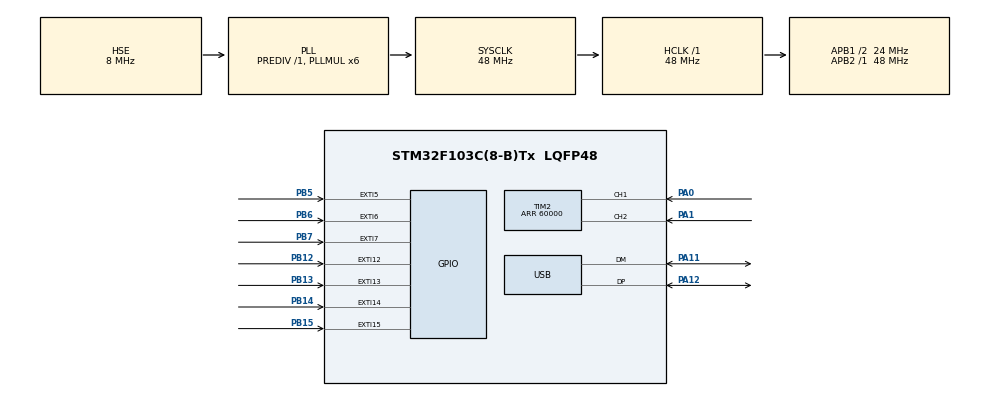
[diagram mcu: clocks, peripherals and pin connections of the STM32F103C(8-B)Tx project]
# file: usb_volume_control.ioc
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Mcu.Family=STM32F1
Mcu.Name=STM32F103C(8-B)Tx
Mcu.Package=LQFP48
NVIC.EXTI15_10_IRQn=true\:0\:0\:false\:false\:true\:true\:true\:true
NVIC.EXTI9_5_IRQn=true\:0\:0\:false\:false\:true\:true\:true\:true
NVIC.PriorityGroup=NVIC_PRIORITYGROUP_4
NVIC.TIM2_IRQn=true\:0\:0\:false\:false\:true\:true\:true\:true
NVIC.USB_LP_CAN1_RX0_IRQn=true\:0\:0\:false\:false\:true\:false\:true\:true
PA0-WKUP.GPIO_PuPd=GPIO_PULLDOWN
PA0-WKUP.Signal=S_TIM2_CH1_ETR
PA1.GPIO_PuPd=GPIO_PULLDOWN
PA1.Signal=S_TIM2_CH2
PA11.Mode=Device
PA11.Signal=USB_DM
PA12.Mode=Device
PA12.Signal=USB_DP
PA13.Mode=Serial_Wire
PA13.Signal=SYS_JTMS-SWDIO
PA14.Mode=Serial_Wire
PA14.Signal=SYS_JTCK-SWCLK
PB12.GPIO_ModeDefaultEXTI=GPIO_MODE_IT_FALLING
PB12.GPIO_PuPd=GPIO_PULLUP
PB12.Signal=GPXTI12
PB13.GPIO_ModeDefaultEXTI=GPIO_MODE_IT_FALLING
PB13.GPIO_PuPd=GPIO_PULLUP
PB13.Signal=GPXTI13
PB14.GPIO_ModeDefaultEXTI=GPIO_MODE_IT_FALLING
PB14.GPIO_PuPd=GPIO_PULLUP
PB14.Signal=GPXTI14
PB15.GPIO_ModeDefaultEXTI=GPIO_MODE_IT_FALLING
PB15.GPIO_PuPd=GPIO_PULLUP
PB15.Signal=GPXTI15
PB5.GPIO_ModeDefaultEXTI=GPIO_MODE_IT_FALLING
PB5.GPIO_PuPd=GPIO_PULLUP
PB5.Signal=GPXTI5
PB6.GPIO_ModeDefaultEXTI=GPIO_MODE_IT_FALLING
PB6.GPIO_PuPd=GPIO_PULLUP
PB6.Signal=GPXTI6
PB7.GPIO_ModeDefaultEXTI=GPIO_MODE_IT_FALLING
PB7.GPIO_PuPd=GPIO_PULLUP
PB7.Signal=GPXTI7
PD0-OSC_IN.Mode=HSE-External-Oscillator
PD0-OSC_IN.Signal=RCC_OSC_IN
PD1-OSC_OUT.Mode=HSE-External-Oscillator
PD1-OSC_OUT.Signal=RCC_OSC_OUT
ProjectManager.HeapSize=0x200
ProjectManager.StackSize=0x400
ProjectManager.TargetToolchain=STM32CubeIDE
RCC.AHBFreq_Value=48000000
RCC.APB1CLKDivider=RCC_HCLK_DIV2
RCC.APB1Freq_Value=24000000
RCC.APB1TimFreq_Value=48000000
RCC.APB2Freq_Value=48000000
RCC.APB2TimFreq_Value=48000000
RCC.HCLKFreq_Value=48000000
RCC.PLLMUL=RCC_PLL_MUL6
RCC.SYSCLKFreq_VALUE=48000000
RCC.SYSCLKSource=RCC_SYSCLKSOURCE_PLLCLK
RCC.USBFreq_Value=48000000
SH.S_TIM2_CH1_ETR.0=TIM2_CH1,Encoder_Interface
SH.S_TIM2_CH2.0=TIM2_CH2,Encoder_Interface
TIM2.CounterMode=TIM_COUNTERMODE_CENTERALIGNED1
TIM2.IC1Filter=15
TIM2.IC2Filter=15
TIM2.Period=60000
USB_DEVICE.CLASS_NAME_FS=CUSTOM_HID
USB_DEVICE.PRODUCT_STRING_CUSTOMHID_FS=stm32_media
USB_DEVICE.USBD_CUSTOM_HID_REPORT_DESC_SIZE=72
USB_DEVICE.VirtualMode=CustomHid
USB_DEVICE.VirtualModeFS=Custom_Hid_FS
VP_USB_DEVICE_VS_USB_DEVICE_CUSTOM_HID_FS.Mode=CUSTOM_HID_FS
board=custom

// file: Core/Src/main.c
/* USER CODE BEGIN Header */
/**
 ******************************************************************************
 * @file           : main.c
 * @brief          : Main program body
 ******************************************************************************
 * @attention
 *
 * Copyright (c) 2023 STMicroelectronics.
 * All rights reserved.
 *
 * This software is licensed under terms that can be found in the LICENSE file
 * in the root directory of this software component.
 * If no LICENSE file comes with this software, it is provided AS-IS.
 *
 ******************************************************************************
 */
/* USER CODE END Header */
#include "main.h"
#include "usb_device.h"

/* USER CODE BEGIN Includes */
#include "usbd_customhid.h"
/* USER CODE END Includes */

TIM_HandleTypeDef htim2;

/* USER CODE BEGIN PV */
volatile uint8_t flag_irq = 0;
volatile uint32_t time_irq = 0;
// Номер пина на котором произошло прерывание
volatile uint16_t active_pin = 0;
// Предыдущее значение энкодера
volatile uint32_t prev = 0;
// Направление вращения энкодера 0 - вверх, 1 - счёт идёт вниз
volatile uint8_t direct = 0;
// Разрешаем изменение громкости
volatile uint8_t isChangeVolume = 0;
/* USER CODE END PV */

void SystemClock_Config(void);
static void MX_GPIO_Init(void);
static void MX_TIM2_Init(void);

/* USER CODE BEGIN 0 */
extern USBD_HandleTypeDef hUsbDeviceFS;

struct
{
  uint8_t id; // Report ID
  uint8_t keys; //Key
} data, data_zero = {1, 0};
/* USER CODE END 0 */

int main(void)
{

  /* MCU Configuration--------------------------------------------------------*/

  /* Reset of all peripherals, Initializes the Flash interface and the Systick. */
  HAL_Init();

  /* Configure the system clock */
  SystemClock_Config();

  /* Initialize all configured peripherals */
  MX_GPIO_Init();
  MX_USB_DEVICE_Init();
  MX_TIM2_Init();
  /* USER CODE BEGIN 2 */
  // Устанавливаем счётчик в середину диапазона
  __HAL_TIM_SET_COUNTER(&htim2, 30000);
  //HAL_TIM_Base_Start_IT(&htim2);
  HAL_TIM_Encoder_Start_IT(&htim2, TIM_CHANNEL_1);
  /* USER CODE END 2 */

  /* Infinite loop */
  while (1) {

    /* USER CODE BEGIN 3 */
    if (isChangeVolume) {
      if (direct) {
        data.id = 1; data.keys = 0x04;
      } else {
        data.id = 1; data.keys = 0x02;
      }
      USBD_CUSTOM_HID_SendReport(&hUsbDeviceFS, (uint8_t*)&data, sizeof(data));
      HAL_Delay(50);
      data_zero.id = 1;
      USBD_CUSTOM_HID_SendReport(&hUsbDeviceFS, (uint8_t*)&data_zero, sizeof(data_zero));
      HAL_Delay(50);

      isChangeVolume = 0;
    }

    if (flag_irq && (HAL_GetTick() - time_irq) > 200) {
      switch (active_pin) {
        case GPIO_PIN_5:
          data.id = 2; data.keys = 0x01;
          data_zero.id = 2;
          break;
        case GPIO_PIN_6:
          data.id = 2; data.keys = 0x02;
          data_zero.id = 2;
          break;
        case GPIO_PIN_7:
          data.id = 2; data.keys = 0x04;
          data_zero.id = 2;
          break;

        case GPIO_PIN_12:
          data.id = 1; data.keys = 0x01;
          data_zero.id = 1;
          break;
        case GPIO_PIN_13:
          data.id = 1; data.keys = 0x08;
          data_zero.id = 1;
          break;
        case GPIO_PIN_14:
          data.id = 1; data.keys = 0x10;
          data_zero.id = 1;
          break;
        case GPIO_PIN_15:
          data.id = 1; data.keys = 0x20;
          data_zero.id = 1;
          break;

        default:
          // При помощи макроса очищаем бит EXTI_PR
          __HAL_GPIO_EXTI_CLEAR_IT(active_pin);
          // Очищаем бит NVIC_ICPRx
          NVIC_ClearPendingIRQ(EXTI9_5_IRQn);
          NVIC_ClearPendingIRQ(EXTI15_10_IRQn);
          flag_irq = 0;
          // Включаем внешнее прерывание
          HAL_NVIC_EnableIRQ(EXTI9_5_IRQn);
          HAL_NVIC_EnableIRQ(EXTI15_10_IRQn);
          continue;
      }

      USBD_CUSTOM_HID_SendReport(&hUsbDeviceFS, (uint8_t*)&data, sizeof(data));
      HAL_Delay(50);
      USBD_CUSTOM_HID_SendReport(&hUsbDeviceFS, (uint8_t*)&data_zero, sizeof(data_zero));
      HAL_Delay(50);

      // При помощи макроса очищаем бит EXTI_PR
      __HAL_GPIO_EXTI_CLEAR_IT(active_pin);
      // Очищаем бит NVIC_ICPRx
      NVIC_ClearPendingIRQ(EXTI9_5_IRQn);
      NVIC_ClearPendingIRQ(EXTI15_10_IRQn);
      flag_irq = 0;
      // Включаем внешнее прерывание
      HAL_NVIC_EnableIRQ(EXTI9_5_IRQn);
      HAL_NVIC_EnableIRQ(EXTI15_10_IRQn);
    }
  }
  /* USER CODE END 3 */
}

void SystemClock_Config(void)
{
  RCC_OscInitTypeDef RCC_OscInitStruct = {0};
  RCC_ClkInitTypeDef RCC_ClkInitStruct = {0};
  RCC_PeriphCLKInitTypeDef PeriphClkInit = {0};

  /** Initializes the RCC Oscillators according to the specified parameters
  * in the RCC_OscInitTypeDef structure.
  */
  RCC_OscInitStruct.OscillatorType = RCC_OSCILLATORTYPE_HSE;
  RCC_OscInitStruct.HSEState = RCC_HSE_ON;
  RCC_OscInitStruct.HSEPredivValue = RCC_HSE_PREDIV_DIV1;
  RCC_OscInitStruct.HSIState = RCC_HSI_ON;
  RCC_OscInitStruct.PLL.PLLState = RCC_PLL_ON;
  RCC_OscInitStruct.PLL.PLLSource = RCC_PLLSOURCE_HSE;
  RCC_OscInitStruct.PLL.PLLMUL = RCC_PLL_MUL6;
  if (HAL_RCC_OscConfig(&RCC_OscInitStruct) != HAL_OK)
  {
    Error_Handler();
  }

  /** Initializes the CPU, AHB and APB buses clocks
  */
  RCC_ClkInitStruct.ClockType = RCC_CLOCKTYPE_HCLK|RCC_CLOCKTYPE_SYSCLK
                              |RCC_CLOCKTYPE_PCLK1|RCC_CLOCKTYPE_PCLK2;
  RCC_ClkInitStruct.SYSCLKSource = RCC_SYSCLKSOURCE_PLLCLK;
  RCC_ClkInitStruct.AHBCLKDivider = RCC_SYSCLK_DIV1;
  RCC_ClkInitStruct.APB1CLKDivider = RCC_HCLK_DIV2;
  RCC_ClkInitStruct.APB2CLKDivider = RCC_HCLK_DIV1;

  if (HAL_RCC_ClockConfig(&RCC_ClkInitStruct, FLASH_LATENCY_1) != HAL_OK)
  {
    Error_Handler();
  }
  PeriphClkInit.PeriphClockSelection = RCC_PERIPHCLK_USB;
  PeriphClkInit.UsbClockSelection = RCC_USBCLKSOURCE_PLL;
  if (HAL_RCCEx_PeriphCLKConfig(&PeriphClkInit) != HAL_OK)
  {
    Error_Handler();
  }
}

static void MX_TIM2_Init(void)
{

  TIM_Encoder_InitTypeDef sConfig = {0};
  TIM_MasterConfigTypeDef sMasterConfig = {0};

  htim2.Instance = TIM2;
  htim2.Init.Prescaler = 0;
  htim2.Init.CounterMode = TIM_COUNTERMODE_CENTERALIGNED1;
  htim2.Init.Period = 60000;
  htim2.Init.ClockDivision = TIM_CLOCKDIVISION_DIV1;
  htim2.Init.AutoReloadPreload = TIM_AUTORELOAD_PRELOAD_DISABLE;
  sConfig.EncoderMode = TIM_ENCODERMODE_TI1;
  sConfig.IC1Polarity = TIM_ICPOLARITY_RISING;
  sConfig.IC1Selection = TIM_ICSELECTION_DIRECTTI;
  sConfig.IC1Prescaler = TIM_ICPSC_DIV1;
  sConfig.IC1Filter = 15;
  sConfig.IC2Polarity = TIM_ICPOLARITY_RISING;
  sConfig.IC2Selection = TIM_ICSELECTION_DIRECTTI;
  sConfig.IC2Prescaler = TIM_ICPSC_DIV1;
  sConfig.IC2Filter = 15;
  if (HAL_TIM_Encoder_Init(&htim2, &sConfig) != HAL_OK)
  {
    Error_Handler();
  }
  sMasterConfig.MasterOutputTrigger = TIM_TRGO_RESET;
  sMasterConfig.MasterSlaveMode = TIM_MASTERSLAVEMODE_DISABLE;
  if (HAL_TIMEx_MasterConfigSynchronization(&htim2, &sMasterConfig) != HAL_OK)
  {
    Error_Handler();
  }

}

static void MX_GPIO_Init(void)
{
  GPIO_InitTypeDef GPIO_InitStruct = {0};

  /* GPIO Ports Clock Enable */
  __HAL_RCC_GPIOD_CLK_ENABLE();
  __HAL_RCC_GPIOA_CLK_ENABLE();
  __HAL_RCC_GPIOB_CLK_ENABLE();

  /*Configure GPIO pins : PB12 PB13 PB14 PB15
                           PB5 PB6 PB7 */
  GPIO_InitStruct.Pin = GPIO_PIN_12|GPIO_PIN_13|GPIO_PIN_14|GPIO_PIN_15
                          |GPIO_PIN_5|GPIO_PIN_6|GPIO_PIN_7;
  GPIO_InitStruct.Mode = GPIO_MODE_IT_FALLING;
  GPIO_InitStruct.Pull = GPIO_PULLUP;
  HAL_GPIO_Init(GPIOB, &GPIO_InitStruct);

  /* EXTI interrupt init*/
  HAL_NVIC_SetPriority(EXTI9_5_IRQn, 0, 0);
  HAL_NVIC_EnableIRQ(EXTI9_5_IRQn);

  HAL_NVIC_SetPriority(EXTI15_10_IRQn, 0, 0);
  HAL_NVIC_EnableIRQ(EXTI15_10_IRQn);

}

/* USER CODE BEGIN 4 */
void HAL_GPIO_EXTI_Callback(uint16_t GPIO_Pin) {
  active_pin = GPIO_Pin;
  // сразу же отключаем внешние прерывания
  HAL_NVIC_DisableIRQ(EXTI9_5_IRQn);
  HAL_NVIC_DisableIRQ(EXTI15_10_IRQn);

  flag_irq = 1;
  time_irq = HAL_GetTick();
}

void HAL_TIM_IC_CaptureCallback(TIM_HandleTypeDef *htim) {
  if (htim->Instance == TIM2) {
    uint32_t count = __HAL_TIM_GET_COUNTER(htim);
    // Проверяем чтобы count было нечётным и больше / меньше на 2 предыдущено значения
    if (count - prev >= 2 || prev - count >= 2) {
      prev = count;
      direct = __HAL_TIM_IS_TIM_COUNTING_DOWN(htim);
      isChangeVolume = 1;
    }
  }
}
/* USER CODE END 4 */

void Error_Handler(void)
{
  __disable_irq();
  while (1) {
  }
}
